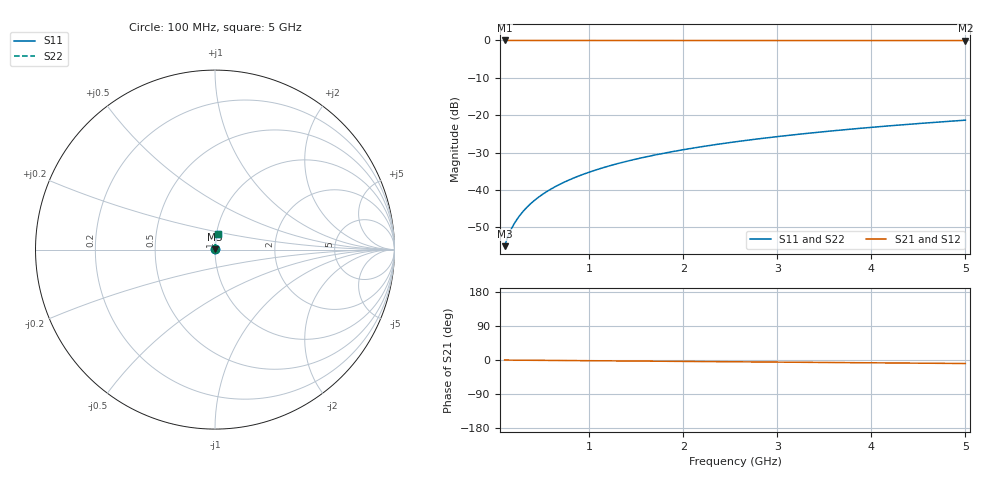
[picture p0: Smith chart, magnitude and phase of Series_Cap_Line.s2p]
! Sonnet Data File
! From: sonnet Version : 18.53-Lite
! From Emgraph Data:
! Data File Written: 04/08/2024 17:23:37
!< HDATE 04/08/2024 17:23:19
!< MDATE 04/08/2024 17:23:19
# GHZ S MA R 50.00000
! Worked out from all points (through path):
!   246 points, 100 MHz to 5 GHz, reference 50 ohm
!   highest |S21| = 0.00 dB at 100 MHz (marker M1); lowest = 0.0 dB at 5 GHz (marker M2)
!   group delay of S21, straight-line fit = 5.14 ps
!   lowest |S11| = -55.1 dB at 100 MHz (marker M3), VSWR 1.00, Z = 50 + j0.177 ohm
!   |S11| at or under -10 dB: start of sweep to end of sweep
!   |S22| runs from -55.1 to -21.3 dB; largest |S21 - S12| = 5.2e-14
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0.1  0.001768 88.3  0.9999 -0.2  0.9999 -0.2  0.001768 88.3
0.12  0.002113 88.3  0.9999 -0.2  0.9999 -0.2  0.002113 88.3
0.14  0.002458 88.3  0.9999 -0.3  0.9999 -0.3  0.002458 88.3
0.16  0.002803 88.3  0.9999 -0.3  0.9999 -0.3  0.002803 88.3
0.18  0.003148 88.3  0.9999 -0.3  0.9999 -0.3  0.003148 88.3
0.22  0.003838 88.3  0.9999 -0.4  0.9999 -0.4  0.003838 88.3
0.26  0.004528 88.3  0.9999 -0.5  0.9999 -0.5  0.004528 88.2
0.3  0.005218 88.2  0.9999 -0.6  0.9999 -0.6  0.005218 88.2
0.38  0.006599 88.1  0.9999 -0.7  0.9999 -0.7  0.006599 88.1
0.5  0.008669 88.0  0.9999 -0.9  0.9999 -0.9  0.008669 87.9
0.62  0.01074 87.8  0.9998 -1.2  0.9998 -1.2  0.01074 87.7
0.76  0.01316 87.6  0.9998 -1.4  0.9998 -1.4  0.01315 87.5
0.92  0.01592 87.4  0.9997 -1.7  0.9997 -1.7  0.01591 87.3
1.1  0.01902 87.1  0.9997 -2.0  0.9997 -2.0  0.01902 87.0
1.28  0.02212 86.8  0.9996 -2.4  0.9996 -2.4  0.02212 86.8
1.5  0.02592 86.5  0.9995 -2.8  0.9995 -2.8  0.02592 86.5
1.74  0.03005 86.2  0.9993 -3.2  0.9993 -3.2  0.03005 86.1
2.12  0.0366 85.6  0.9991 -3.9  0.9991 -3.9  0.03659 85.5
2.56  0.04416 85.0  0.9987 -4.7  0.9987 -4.7  0.04416 84.9
3.38  0.05819 83.4  0.9979 -6.3  0.9979 -6.3  0.05819 83.2
4.2  0.07219 81.9  0.9969 -7.8  0.9969 -7.8  0.07219 81.7
5  0.08579 80.6  0.9958 -9.3  0.9958 -9.3  0.08578 80.4
